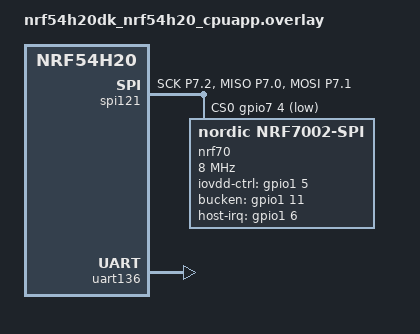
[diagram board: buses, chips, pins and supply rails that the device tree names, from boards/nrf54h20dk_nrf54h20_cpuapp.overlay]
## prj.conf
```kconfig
#
# Copyright (c) 2022 Nordic Semiconductor ASA
#
# SPDX-License-Identifier: LicenseRef-Nordic-5-Clause
#

# Wi-Fi
CONFIG_WIFI=y
CONFIG_WIFI_NM_WPA_SUPPLICANT=y

CONFIG_NRF70_RX_NUM_BUFS=16
CONFIG_NRF70_MAX_TX_AGGREGATION=4

# Wi-Fi credentials
CONFIG_WIFI_CREDENTIALS=y
CONFIG_WIFI_CREDENTIALS_STATIC=n

# Networking Management API
CONFIG_NET_MGMT=y
CONFIG_NET_MGMT_EVENT=y
CONFIG_NET_MGMT_EVENT_INFO=y
CONFIG_NET_CONNECTION_MANAGER=y
CONFIG_NET_CONNECTION_MANAGER_MONITOR_STACK_SIZE=5200
CONFIG_L2_WIFI_CONNECTIVITY=y

# Support for shell commands
CONFIG_SHELL=y
CONFIG_NET_L2_WIFI_SHELL=y
CONFIG_WIFI_CREDENTIALS_SHELL=y
CONFIG_SHELL_STACK_SIZE=5200

# Logging
CONFIG_LOG=y

# DK library
CONFIG_DK_LIBRARY=y

# System settings
CONFIG_NEWLIB_LIBC=y
CONFIG_NEWLIB_LIBC_NANO=n

# Networking
CONFIG_NETWORKING=y
CONFIG_NET_SOCKETS=y
CONFIG_NET_L2_ETHERNET=y
CONFIG_NET_IPV4=y
CONFIG_NET_IPV6=y
CONFIG_NET_TCP=y
CONFIG_NET_DHCPV4=y
CONFIG_DNS_RESOLVER=y

# Memory
CONFIG_SYSTEM_WORKQUEUE_STACK_SIZE=4096
CONFIG_MAIN_STACK_SIZE=5200



# Configure network parameters
CONFIG_NET_TC_TX_COUNT=0
CONFIG_NET_BUF_TX_COUNT=16
CONFIG_NET_BUF_RX_COUNT=16
CONFIG_NET_PKT_TX_COUNT=14
CONFIG_NET_PKT_RX_COUNT=14
CONFIG_NET_TX_STACK_SIZE=4096
CONFIG_NET_RX_STACK_SIZE=4096
CONFIG_NET_BUF_FIXED_DATA_SIZE=y
CONFIG_NET_BUF_DATA_SIZE=256
CONFIG_NET_TCP_WORKQ_STACK_SIZE=2048

# MQTT
CONFIG_MQTT_HELPER=y
CONFIG_MQTT_CLEAN_SESSION=y
# STEP 1.1 - Enable TLS for the MQTT library
CONFIG_MQTT_LIB_TLS=y

# STEP 1.2 - Enable the TLS library and security relevant configurations
CONFIG_NET_SOCKETS_SOCKOPT_TLS=y
CONFIG_TLS_CREDENTIALS=y
CONFIG_MBEDTLS_RSA_C=y

CONFIG_MQTT_SAMPLE_PUB_TOPIC="wifi/fund/board/publish/button/topic99"
CONFIG_MQTT_SAMPLE_SUB_TOPIC="wifi/fund/board/subscribe/led/topic99"
# STEP 2 - Change the broker hostname
CONFIG_MQTT_SAMPLE_BROKER_HOSTNAME="test.mosquitto.org"
CONFIG_MQTT_HELPER_PORT=8883

# STEP 3 - Configure the certificate in the MQTT helper library
CONFIG_MQTT_HELPER_SEC_TAG=24
CONFIG_MQTT_HELPER_CERTIFICATES_FOLDER="src/credentials"
```

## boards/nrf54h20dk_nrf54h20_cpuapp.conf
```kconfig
CONFIG_MBEDTLS_ENABLE_HEAP=y
CONFIG_MBEDTLS_HEAP_SIZE=81920

CONFIG_WIFI_CREDENTIALS_BACKEND_SETTINGS=y
CONFIG_SETTINGS=y
CONFIG_SETTINGS_RUNTIME=y
CONFIG_NVS=y
CONFIG_FLASH=y
CONFIG_FLASH_MAP=y

CONFIG_NORDIC_SECURITY_BACKEND=y
CONFIG_NRF_SECURITY=y

CONFIG_MBEDTLS_TLS_LIBRARY=y
CONFIG_MBEDTLS_SSL_CLI_C=y
CONFIG_MBEDTLS_ENABLE_HEAP=y
CONFIG_MBEDTLS_HEAP_SIZE=81920
CONFIG_MBEDTLS_PSA_CRYPTO_C=y
CONFIG_MBEDTLS_LEGACY_CRYPTO_C=y

CONFIG_MBEDTLS_PEM_PARSE_C=y
CONFIG_MBEDTLS_SSL_RENEGOTIATION=y
CONFIG_MBEDTLS_SSL_SERVER_NAME_INDICATION=y
CONFIG_MBEDTLS_GCM_C=y
CONFIG_ZVFS_POLL_MAX=20

CONFIG_MBEDTLS_DEBUG=y
CONFIG_MBEDTLS_SSL_DEBUG_ALL=y
CONFIG_MBEDTLS_LOG_LEVEL_DBG=y
CONFIG_MBEDTLS_DEBUG_C=y
CONFIG_MBEDTLS_DEBUG_LEVEL=4
# Handle the large influx of prints
CONFIG_LOG_BUFFER_SIZE=32000   
```

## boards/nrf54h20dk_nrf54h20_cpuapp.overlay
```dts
#include <zephyr/dt-bindings/i2c/i2c.h>

/ {
    chosen {
        zephyr,wifi = &wlan0;
    };
};

&gpio0 {
    status = "okay";
};

&gpio1 {
    status = "okay";
};

&gpio2 {
    status = "okay";
};

&gpio6 {
    status = "okay";
};

&gpio7 {
    status = "okay";
};

&gpio9 {
    status = "okay";
};

&dma_fast_region {
    status = "okay";
};

&spi121 {
    status = "okay";
    cs-gpios = <&gpio7 4 GPIO_ACTIVE_LOW>;
    pinctrl-0 = <&spi121_default>;
    pinctrl-1 = <&spi121_sleep>;
    pinctrl-names = "default", "sleep";
    memory-regions = <&dma_fast_region>;

    nrf70: nrf7002-spi@0 {
        compatible = "nordic,nrf7002-spi";
        status = "okay";

        iovdd-ctrl-gpios = <&gpio1 5 GPIO_ACTIVE_HIGH>;
        bucken-gpios = <&gpio1 11 GPIO_ACTIVE_HIGH>;
        host-irq-gpios = <&gpio1 6 GPIO_ACTIVE_HIGH>;

        /* Include common nRF70 overlays */
        /* Common assignments for nRF70 EB-II shield */
        reg = <0>;
        spi-max-frequency = <DT_FREQ_M(8)>;

        /* Maximum TX power limits for 2.4 GHz */
        wifi-max-tx-pwr-2g-dsss = <21>;
        wifi-max-tx-pwr-2g-mcs0 = <16>;
        wifi-max-tx-pwr-2g-mcs7 = <16>;

        /* List of interfaces */
        wlan0: wlan0 {
            compatible = "nordic,wlan";
        };

        wifi-max-tx-pwr-5g-low-mcs0 = <13>;
        wifi-max-tx-pwr-5g-low-mcs7 = <13>;
        wifi-max-tx-pwr-5g-mid-mcs0 = <13>;
        wifi-max-tx-pwr-5g-mid-mcs7 = <13>;
        wifi-max-tx-pwr-5g-high-mcs0 = <12>;
        wifi-max-tx-pwr-5g-high-mcs7 = <12>;
    };
};

&uart135 {
    status = "disabled";
};

&uart136 {
    status = "okay";
};

&pinctrl {
    spi121_default: spi121_default {
        group1 {
            psels = <NRF_PSEL(SPIM_SCK, 7, 2)>,
                    <NRF_PSEL(SPIM_MISO, 7, 0)>,
                    <NRF_PSEL(SPIM_MOSI, 7, 1)>;
        };
    };

    spi121_sleep: spi121_sleep {
        group1 {
            psels = <NRF_PSEL(SPIM_SCK, 7, 2)>,
                    <NRF_PSEL(SPIM_MISO, 7, 0)>,
                    <NRF_PSEL(SPIM_MOSI, 7, 1)>;
            low-power-enable;
        };
    };
};
```

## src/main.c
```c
/*
 * Copyright (c) 2023 Nordic Semiconductor ASA
 *
 * SPDX-License-Identifier: LicenseRef-Nordic-5-Clause
 */
#include <errno.h>
#include <stddef.h>
#include <string.h>
#include <stdio.h>
#include <zephyr/kernel.h>
#include <zephyr/types.h>
#include <zephyr/logging/log.h>
#include <zephyr/random/random.h>

#include <dk_buttons_and_leds.h>

#include <zephyr/net/net_mgmt.h>
#include <zephyr/net/wifi_mgmt.h>
#include <zephyr/net/wifi_credentials.h>
#include <zephyr/net/socket.h>
#include <net/mqtt_helper.h>

LOG_MODULE_REGISTER(Lesson4_Exercise2, LOG_LEVEL_INF);

#define EVENT_MASK (NET_EVENT_L4_CONNECTED | NET_EVENT_L4_DISCONNECTED)

#define MESSAGE_BUFFER_SIZE 128

#define LED1_ON_CMD  "LED1ON"
#define LED1_OFF_CMD "LED1OFF"
#define LED2_ON_CMD  "LED2ON"
#define LED2_OFF_CMD "LED2OFF"
#define BUTTON1_MSG  "Button 1 pressed"
#define BUTTON2_MSG  "Button 2 pressed"

#define SUBSCRIBE_TOPIC_ID 1234

static struct net_mgmt_event_callback mgmt_cb;
static bool connected;
static K_SEM_DEFINE(run_app, 0, 1);

static uint8_t client_id[sizeof(CONFIG_BOARD) + 11];

static void net_mgmt_event_handler(struct net_mgmt_event_callback *cb, unsigned int mgmt_event,
				   struct net_if *iface)
{
	if ((mgmt_event & EVENT_MASK) != mgmt_event) {
		return;
	}
	if (mgmt_event == NET_EVENT_L4_CONNECTED) {
		LOG_INF("Network connected");
		connected = true;
		k_sem_give(&run_app);
		return;
	}
	if (mgmt_event == NET_EVENT_L4_DISCONNECTED) {
		if (connected == false) {
			LOG_INF("Waiting for network to be connected");
		} else {
			LOG_INF("Network disconnected");
			connected = false;
			(void)mqtt_helper_disconnect();
		}
		k_sem_reset(&run_app);
		return;
	}
}

static void subscribe(void)
{
	int err;

	struct mqtt_topic subscribe_topic = {
		.topic = {.utf8 = CONFIG_MQTT_SAMPLE_SUB_TOPIC,
			  .size = strlen(CONFIG_MQTT_SAMPLE_SUB_TOPIC)},
		.qos = MQTT_QOS_1_AT_LEAST_ONCE};

	struct mqtt_subscription_list subscription_list = {
		.list = &subscribe_topic, .list_count = 1, .message_id = SUBSCRIBE_TOPIC_ID};

	LOG_INF("Subscribing to %s", CONFIG_MQTT_SAMPLE_SUB_TOPIC);
	err = mqtt_helper_subscribe(&subscription_list);
	if (err) {
		LOG_ERR("Failed to subscribe to topics, error: %d", err);
		return;
	}
}

static int publish(uint8_t *data, size_t len)
{
	int err;
	struct mqtt_publish_param mqtt_param;

	mqtt_param.message.payload.data = data;
	mqtt_param.message.payload.len = len;
	mqtt_param.message.topic.qos = MQTT_QOS_1_AT_LEAST_ONCE;
	mqtt_param.message_id = mqtt_helper_msg_id_get(),
	mqtt_param.message.topic.topic.utf8 = CONFIG_MQTT_SAMPLE_PUB_TOPIC;
	mqtt_param.message.topic.topic.size = strlen(CONFIG_MQTT_SAMPLE_PUB_TOPIC);
	mqtt_param.dup_flag = 0;
	mqtt_param.retain_flag = 0;

	err = mqtt_helper_publish(&mqtt_param);
	if (err) {
		LOG_WRN("Failed to send payload, err: %d", err);
		return err;
	}

	LOG_INF("Published message: \"%.*s\" on topic: \"%.*s\"", mqtt_param.message.payload.len,
		mqtt_param.message.payload.data, mqtt_param.message.topic.topic.size,
		mqtt_param.message.topic.topic.utf8);
	return 0;
}

static void on_mqtt_connack(enum mqtt_conn_return_code return_code, bool session_present)
{
	if (return_code == MQTT_CONNECTION_ACCEPTED) {
		LOG_INF("Connected to MQTT broker");
		LOG_INF("Hostname: %s", CONFIG_MQTT_SAMPLE_BROKER_HOSTNAME);
		LOG_INF("Client ID: %s", (char *)client_id);
		LOG_INF("Port: %d", CONFIG_MQTT_HELPER_PORT);
		LOG_INF("TLS: %s", IS_ENABLED(CONFIG_MQTT_LIB_TLS) ? "Yes" : "No");
		subscribe();
	} else {
		LOG_WRN("Connection to broker not established, return_code: %d", return_code);
	}
}

static void on_mqtt_suback(uint16_t message_id, int result)
{
	if (result != MQTT_SUBACK_FAILURE) {
		if (message_id == SUBSCRIBE_TOPIC_ID) {
			LOG_INF("Subscribed to %s with QoS %d", CONFIG_MQTT_SAMPLE_SUB_TOPIC,
				result);
			return;
		}
		LOG_WRN("Subscribed to unknown topic, id: %d with QoS %d", message_id, result);
		return;
	}
	LOG_ERR("Topic subscription failed, error: %d", result);
}

static void on_mqtt_publish(struct mqtt_helper_buf topic, struct mqtt_helper_buf payload)
{
	LOG_INF("Received payload: %.*s on topic: %.*s", payload.size, payload.ptr, topic.size,
		topic.ptr);

	if (strncmp(payload.ptr, LED1_ON_CMD, sizeof(LED1_ON_CMD) - 1) == 0) {
		dk_set_led_on(DK_LED1);
	} else if (strncmp(payload.ptr, LED1_OFF_CMD, sizeof(LED1_OFF_CMD) - 1) == 0) {
		dk_set_led_off(DK_LED1);
	} else if (strncmp(payload.ptr, LED2_ON_CMD, sizeof(LED2_ON_CMD) - 1) == 0) {
		dk_set_led_on(DK_LED2);
	} else if (strncmp(payload.ptr, LED2_OFF_CMD, sizeof(LED2_OFF_CMD) - 1) == 0) {
		dk_set_led_off(DK_LED2);
	}
}

static void on_mqtt_disconnect(int result)
{
	LOG_INF("MQTT client disconnected: %d", result);
}

static void button_handler(uint32_t button_state, uint32_t has_changed)
{
	if (has_changed & DK_BTN1_MSK && button_state & DK_BTN1_MSK) {
		int err = publish(BUTTON1_MSG, sizeof(BUTTON1_MSG) - 1);
		if (err) {
			LOG_ERR("Failed to send message, %d", err);
			return;
		}
	} else if (has_changed & DK_BTN2_MSK && button_state & DK_BTN2_MSK) {
		int err = publish(BUTTON2_MSG, sizeof(BUTTON2_MSG) - 1);
		if (err) {
			LOG_ERR("Failed to send message, %d", err);
			return;
		}
	}
}

int main(void)
{
	int err;

	if (dk_leds_init() != 0) {
		LOG_ERR("Failed to initialize the LED library");
	}

	/* Sleep to allow initialization of Wi-Fi driver */
	k_sleep(K_SECONDS(1));

	net_mgmt_init_event_callback(&mgmt_cb, net_mgmt_event_handler, EVENT_MASK);
	net_mgmt_add_event_callback(&mgmt_cb);

	LOG_INF("Waiting to connect to Wi-Fi");
	k_sem_take(&run_app, K_FOREVER);

	if (dk_buttons_init(button_handler) != 0) {
		LOG_ERR("Failed to initialize the buttons library");
	}

	struct mqtt_helper_cfg config = {
		.cb =
			{
				.on_connack = on_mqtt_connack,
				.on_disconnect = on_mqtt_disconnect,
				.on_publish = on_mqtt_publish,
				.on_suback = on_mqtt_suback,
			},
	};

	LOG_INF("Initializing MQTT helper...");

	err = mqtt_helper_init(&config);
	if (err) {
		LOG_ERR("Failed to initialize MQTT helper, error: %d", err);
		return 0;
	}

	uint32_t id = sys_rand32_get();
	snprintf(client_id, sizeof(client_id), "%s-%010u", CONFIG_BOARD, id);

	LOG_INF("MQTT client ID: %s", (char *)client_id);

	struct mqtt_helper_conn_params conn_params = {
		.hostname.ptr = CONFIG_MQTT_SAMPLE_BROKER_HOSTNAME,
		.hostname.size = strlen(CONFIG_MQTT_SAMPLE_BROKER_HOSTNAME),
		.device_id.ptr = (char *)client_id,
		.device_id.size = strlen(client_id),
		.user_name.ptr = NULL,
		.user_name.size = 0,
		.password.ptr = NULL,
		.password.size = 0,
	};

	LOG_INF("Connecting to MQTT broker...");

	err = mqtt_helper_connect(&conn_params);
	if (err) {
		LOG_ERR("Failed to connect to MQTT, error code: %d", err);
		return 0;
	}
}
```
